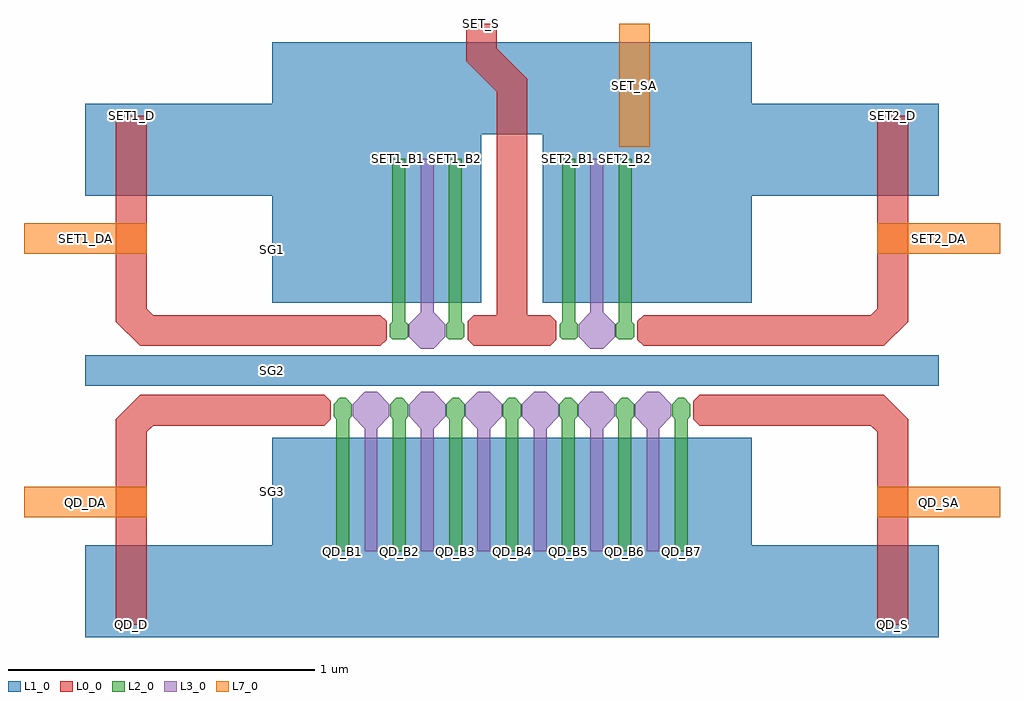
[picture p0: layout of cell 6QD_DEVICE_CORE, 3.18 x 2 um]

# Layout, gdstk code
import gdstk
lib = gdstk.Library(unit=1e-6, precision=1e-09)
def R(c, l, rs):  # rectangles x0, y0, x1, y1
    for r in rs: c.add(gdstk.rectangle(r[:2], r[2:], *l))
def P(c, l, *ps):  # polygons
    for p in ps: c.add(gdstk.Polygon(p, *l))
L0_0 = (0, 0)
L1_0 = (1, 0)
L2_0 = (2, 0)
L3_0 = (3, 0)
L7_0 = (7, 0)

c_6qd_device_core = lib.new_cell('6QD_DEVICE_CORE')
P(c_6qd_device_core, L0_0, [(-0.34,-0.05),(-0.06,-0.05),(-0.04,-0.03),(-0.04,0.03),(-0.06,0.05),(-0.34,0.05)],
  [(1.144,-0.03),(1.164,-0.05),(1.444,-0.05),(1.444,0.05),(1.164,0.05),(1.144,0.03)],
  [(-0.34,0.21),(0.123,0.21),(0.143,0.23),(0.143,0.29),(0.123,0.31),(-0.34,0.31)],
  [(0.961,0.23),(0.981,0.21),(1.444,0.21),(1.444,0.31),(0.981,0.31),(0.961,0.29)],
  [(0.697,0.23),(0.697,0.29),(0.677,0.31),(0.602,0.31),(0.602,0.96),(0.502,0.96),(0.502,0.31),(0.427,0.31),(0.407,0.29),(0.407,0.23),(0.427,0.21),(0.677,0.21)],
  [(-0.34,-0.05),(-0.34,0.05),(-0.661,0.05),(-0.74,-0.029),(-0.74,-0.7),(-0.64,-0.7),(-0.64,-0.071),(-0.619,-0.05)],
  [(1.444,0.05),(1.444,-0.05),(1.723,-0.05),(1.744,-0.071),(1.744,-0.7),(1.844,-0.7),(1.844,-0.029),(1.765,0.05)],
  [(-0.34,0.21),(-0.34,0.31),(-0.619,0.31),(-0.64,0.331),(-0.64,0.96),(-0.74,0.96),(-0.74,0.289),(-0.661,0.21)],
  [(1.444,0.31),(1.444,0.21),(1.765,0.21),(1.844,0.289),(1.844,0.96),(1.744,0.96),(1.744,0.331),(1.723,0.31)],
  [(0.502,0.96),(0.602,0.96),(0.602,1.081),(0.502,1.181),(0.502,1.26),(0.402,1.26),(0.402,1.139),(0.502,1.039)])
R(c_6qd_device_core, L1_0, [(-0.84,0.08,1.944,0.18)])
P(c_6qd_device_core, L1_0, [(-0.23,1),(-0.23,1.2),(0.452,1.2),(0.652,1.2),(1.334,1.2),(1.334,1),(1.944,1),(1.944,0.7),(1.334,0.7),(1.334,0.35),(0.652,0.35),(0.652,0.9),(0.452,0.9),(0.452,0.35),(-0.23,0.35),(-0.23,0.7),(-0.84,0.7),(-0.84,1)],
  [(-0.84,-0.44),(-0.84,-0.74),(1.944,-0.74),(1.944,-0.44),(1.334,-0.44),(1.334,-0.09),(-0.23,-0.09),(-0.23,-0.44)])
P(c_6qd_device_core, L2_0, [(0.021,-0.029),(0.03,-0.02),(0.03,0.02),(0.01,0.04),(-0.01,0.04),(-0.03,0.02),(-0.03,-0.02),(-0.021,-0.029),(-0.021,-0.46),(0.021,-0.46)],
  [(0.205,-0.029),(0.214,-0.02),(0.214,0.02),(0.194,0.04),(0.174,0.04),(0.154,0.02),(0.154,-0.02),(0.163,-0.029),(0.163,-0.46),(0.205,-0.46)],
  [(0.389,-0.029),(0.398,-0.02),(0.398,0.02),(0.378,0.04),(0.358,0.04),(0.338,0.02),(0.338,-0.02),(0.347,-0.029),(0.347,-0.46),(0.389,-0.46)],
  [(0.573,-0.029),(0.582,-0.02),(0.582,0.02),(0.562,0.04),(0.542,0.04),(0.522,0.02),(0.522,-0.02),(0.531,-0.029),(0.531,-0.46),(0.573,-0.46)],
  [(0.757,-0.029),(0.766,-0.02),(0.766,0.02),(0.746,0.04),(0.726,0.04),(0.706,0.02),(0.706,-0.02),(0.715,-0.029),(0.715,-0.46),(0.757,-0.46)],
  [(0.941,-0.029),(0.95,-0.02),(0.95,0.02),(0.93,0.04),(0.91,0.04),(0.89,0.02),(0.89,-0.02),(0.899,-0.029),(0.899,-0.46),(0.941,-0.46)],
  [(1.125,-0.029),(1.134,-0.02),(1.134,0.02),(1.114,0.04),(1.094,0.04),(1.074,0.02),(1.074,-0.02),(1.083,-0.029),(1.083,-0.46),(1.125,-0.46)],
  [(0.213,0.24),(0.213,0.28),(0.204,0.289),(0.204,0.82),(0.162,0.82),(0.162,0.289),(0.153,0.28),(0.153,0.24),(0.162,0.231),(0.204,0.231)],
  [(0.397,0.24),(0.397,0.28),(0.388,0.289),(0.388,0.82),(0.346,0.82),(0.346,0.289),(0.337,0.28),(0.337,0.24),(0.346,0.231),(0.388,0.231)],
  [(0.767,0.24),(0.767,0.28),(0.758,0.289),(0.758,0.82),(0.716,0.82),(0.716,0.289),(0.707,0.28),(0.707,0.24),(0.716,0.231),(0.758,0.231)],
  [(0.951,0.24),(0.951,0.28),(0.942,0.289),(0.942,0.82),(0.9,0.82),(0.9,0.289),(0.891,0.28),(0.891,0.24),(0.9,0.231),(0.942,0.231)])
P(c_6qd_device_core, L3_0, [(0.113,-0.06),(0.152,-0.02),(0.152,0.02),(0.112,0.06),(0.072,0.06),(0.032,0.02),(0.032,-0.02),(0.071,-0.06),(0.071,-0.46),(0.113,-0.46)],
  [(0.297,-0.06),(0.336,-0.02),(0.336,0.02),(0.296,0.06),(0.256,0.06),(0.216,0.02),(0.216,-0.02),(0.255,-0.06),(0.255,-0.46),(0.297,-0.46)],
  [(0.481,-0.06),(0.52,-0.02),(0.52,0.02),(0.48,0.06),(0.44,0.06),(0.4,0.02),(0.4,-0.02),(0.439,-0.06),(0.439,-0.46),(0.481,-0.46)],
  [(0.665,-0.06),(0.704,-0.02),(0.704,0.02),(0.664,0.06),(0.624,0.06),(0.584,0.02),(0.584,-0.02),(0.623,-0.06),(0.623,-0.46),(0.665,-0.46)],
  [(0.849,-0.06),(0.888,-0.02),(0.888,0.02),(0.848,0.06),(0.808,0.06),(0.768,0.02),(0.768,-0.02),(0.807,-0.06),(0.807,-0.46),(0.849,-0.46)],
  [(1.033,-0.06),(1.072,-0.02),(1.072,0.02),(1.032,0.06),(0.992,0.06),(0.952,0.02),(0.952,-0.02),(0.991,-0.06),(0.991,-0.46),(1.033,-0.46)],
  [(0.335,0.24),(0.335,0.28),(0.296,0.319),(0.296,0.82),(0.254,0.82),(0.254,0.319),(0.215,0.28),(0.215,0.24),(0.254,0.2),(0.296,0.2)],
  [(0.889,0.24),(0.889,0.28),(0.85,0.319),(0.85,0.82),(0.808,0.82),(0.808,0.319),(0.769,0.28),(0.769,0.24),(0.808,0.2),(0.85,0.2)])
R(c_6qd_device_core, L7_0, [(-1.04,-0.35,-0.64,-0.25), (1.744,-0.35,2.144,-0.25), (-1.04,0.51,-0.64,0.61), (1.744,0.51,2.144,0.61), (0.902,0.86,1.002,1.26)])
c_6qd_device_core.add(gdstk.Label('QD_B1', (0,-0.46), layer=100, texttype=0))
c_6qd_device_core.add(gdstk.Label('QD_PG1', (0.092,-0.46), layer=100, texttype=0))
c_6qd_device_core.add(gdstk.Label('QD_B2', (0.184,-0.46), layer=100, texttype=0))
c_6qd_device_core.add(gdstk.Label('QD_PG2', (0.276,-0.46), layer=100, texttype=0))
c_6qd_device_core.add(gdstk.Label('QD_B3', (0.368,-0.46), layer=100, texttype=0))
c_6qd_device_core.add(gdstk.Label('QD_PG3', (0.46,-0.46), layer=100, texttype=0))
c_6qd_device_core.add(gdstk.Label('QD_B4', (0.552,-0.46), layer=100, texttype=0))
c_6qd_device_core.add(gdstk.Label('QD_PG4', (0.644,-0.46), layer=100, texttype=0))
c_6qd_device_core.add(gdstk.Label('QD_B5', (0.736,-0.46), layer=100, texttype=0))
c_6qd_device_core.add(gdstk.Label('QD_PG5', (0.828,-0.46), layer=100, texttype=0))
c_6qd_device_core.add(gdstk.Label('QD_B6', (0.92,-0.46), layer=100, texttype=0))
c_6qd_device_core.add(gdstk.Label('QD_PG6', (1.012,-0.46), layer=100, texttype=0))
c_6qd_device_core.add(gdstk.Label('QD_B7', (1.104,-0.46), layer=100, texttype=0))
c_6qd_device_core.add(gdstk.Label('SET1_B1', (0.183,0.82), layer=100, texttype=0))
c_6qd_device_core.add(gdstk.Label('SET1_G', (0.275,0.82), layer=100, texttype=0))
c_6qd_device_core.add(gdstk.Label('SET1_B2', (0.367,0.82), layer=100, texttype=0))
c_6qd_device_core.add(gdstk.Label('SET2_B1', (0.737,0.82), layer=100, texttype=0))
c_6qd_device_core.add(gdstk.Label('SET2_G', (0.829,0.82), layer=100, texttype=0))
c_6qd_device_core.add(gdstk.Label('SET2_B2', (0.921,0.82), layer=100, texttype=0))
c_6qd_device_core.add(gdstk.Label('SG1', (-0.23,0.525), layer=100, texttype=0))
c_6qd_device_core.add(gdstk.Label('SG2', (-0.23,0.13), layer=100, texttype=0))
c_6qd_device_core.add(gdstk.Label('SG3', (-0.23,-0.265), layer=100, texttype=0))
c_6qd_device_core.add(gdstk.Label('QD_D', (-0.69,-0.7), layer=100, texttype=0))
c_6qd_device_core.add(gdstk.Label('QD_S', (1.794,-0.7), layer=100, texttype=0))
c_6qd_device_core.add(gdstk.Label('SET1_D', (-0.69,0.96), layer=100, texttype=0))
c_6qd_device_core.add(gdstk.Label('SET2_D', (1.794,0.96), layer=100, texttype=0))
c_6qd_device_core.add(gdstk.Label('SET_S', (0.452,1.26), layer=100, texttype=0))
c_6qd_device_core.add(gdstk.Label('QD_DA', (-0.84,-0.3), layer=100, texttype=0))
c_6qd_device_core.add(gdstk.Label('QD_SA', (1.944,-0.3), layer=100, texttype=0))
c_6qd_device_core.add(gdstk.Label('SET_SA', (0.952,1.06), layer=100, texttype=0))
c_6qd_device_core.add(gdstk.Label('SET1_DA', (-0.84,0.56), layer=100, texttype=0))
c_6qd_device_core.add(gdstk.Label('SET2_DA', (1.944,0.56), layer=100, texttype=0))

lib.write_gds('6QD_DEVICE_CORE.gds')
